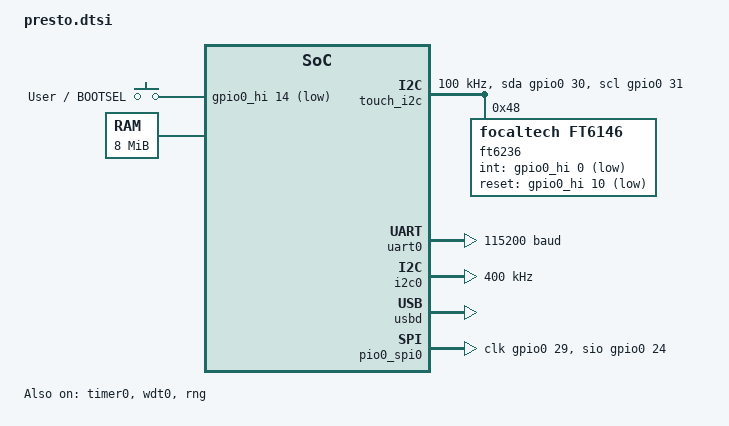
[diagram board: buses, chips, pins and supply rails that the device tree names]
/*
 * SPDX-License-Identifier: MIT
 *
 * Pimoroni Presto (RP2350B, 480x480 IPS w/ cap-touch, RM2 Wi-Fi/BT,
 * 7x SK6812, 8MB PSRAM, microSD, piezo).
 *
 * Pin map (RP2350B GPIO numbers; gpio0 covers 0-31, gpio0_hi covers 32-47):
 *
 *   Display (DISABLED — no upstream Zephyr driver for ST7701 in parallel RGB):
 *     GP1..GP18  18bpp parallel RGB data lanes
 *     GP19       HSYNC
 *     GP20       VSYNC
 *     GP21       DE
 *     GP22       PCLK / DOTCLK
 *     GP26       LCD SPI CLK (9-bit cmd bus)
 *     GP27       LCD SPI DATA
 *     GP28       LCD SPI CS
 *     GP44       LCD_RESET
 *
 *   Backlight:
 *     GP45       BACKLIGHT_EN (drives AP3031 booster CTRL)
 *
 *   Wi-Fi / BT (CYW43439 via RM2, PIO-SPI):
 *     GP23 REG_ON, GP24 DATA, GP25 CS, GP29 CLK
 *
 *   Touch (FT6236, I2C):
 *     GP30 SDA, GP31 SCL, GP32 INT, GP42 RESET, addr 0x48
 *
 *   LEDs (7x SK6812 NeoPixels, on PIO2 here; PIO0 SM3 in Pimoroni's firmware):
 *     GP33 LED_DATA
 *
 *   microSD (4-bit SDIO capable; driven here in SPI mode on SPI0):
 *     GP34 SCLK, GP35 CMD/MOSI, GP36 DAT0/MISO,
 *     GP37 DAT1, GP38 DAT2, GP39 DAT3/CS
 *
 *   Qw/ST I2C (external breakout):
 *     GP40 SDA, GP41 SCL
 *
 *   Piezo audio:
 *     GP43 PWM
 *
 *   User input:
 *     GP46 USER_SW (shared with QSPI BOOTSEL, pull-up active-low)
 *
 *   PSRAM (8MB APS6404, out of scope this iteration):
 *     GP47 dedicated CS
 */

#include <freq.h>

#include <zephyr/dt-bindings/gpio/gpio.h>
#include <zephyr/dt-bindings/i2c/i2c.h>
#include <zephyr/dt-bindings/input/input-event-codes.h>
#include <zephyr/dt-bindings/led/led.h>
#include <zephyr/dt-bindings/memory-attr/memory-attr-arm.h>
#include <zephyr/dt-bindings/memory-attr/memory-attr-sw.h>

#include "presto-pinctrl.dtsi"

/ {
	chosen {
		zephyr,sram = &sram0;
		zephyr,flash = &flash0;
		zephyr,flash-controller = &qmi;
		zephyr,console = &uart0;
		zephyr,shell-uart = &uart0;
	};

	aliases {
		watchdog0 = &wdt0;
		sw0 = &user_sw;
		led-strip = &ws2812;
	};

	buttons {
		compatible = "gpio-keys";

		user_sw: user_sw {
			label = "User / BOOTSEL";
			gpios = <&gpio0_hi 14 (GPIO_PULL_UP | GPIO_ACTIVE_LOW)>;
			zephyr,code = <INPUT_KEY_0>;
		};
	};
};

&flash0 {
	reg = <0x10000000 DT_SIZE_M(16)>;
};

&uart0 {
	current-speed = <115200>;
	pinctrl-0 = <&uart0_default>;
	pinctrl-names = "default";
	status = "okay";
};

&gpio0 {
	status = "okay";
};

&gpio0_hi {
	status = "okay";
};

/* Qw/ST connector. */
&i2c0 {
	clock-frequency = <I2C_BITRATE_FAST>;
	pinctrl-0 = <&i2c0_default>;
	pinctrl-names = "default";
	status = "okay";
};

/*
 * On-board FT6236 capacitive touch — software bit-bang I2C, NOT the RP2350
 * hardware I2C1.
 *
 * The FT6236 clock-stretches while it computes touch coordinates. The RP2350
 * DesignWare hardware I2C controller's interrupt/FIFO read path doesn't
 * tolerate that: idle reads succeed, but the first real touch trips a
 * controller error and the bus locks up (observed -EIO / i2c_dw "ABR and
 * STOP", and -ETIMEDOUT after; no auto bus-recovery exists for this driver).
 * Pimoroni's MicroPython reads the same panel fine because the pico-sdk does a
 * polled, byte-by-byte, clock-stretch-aware read. Zephyr's gpio-i2c bit-bang
 * driver (CONFIG_I2C_GPIO, clock-stretching enabled by default) behaves the
 * same way, so the touch bus uses it. The hardware &i2c1 is left disabled;
 * &i2c0 (Qw/ST) keeps using hardware I2C.
 *
 * GP30 = SDA, GP31 = SCL (gpio0 indices 30/31), open-drain with the RP2350
 * internal pull-ups (the on-board touch bus has no external pull-ups).
 */
&i2c1 {
	status = "disabled";
};

/ {
	touch_i2c: touch-i2c {
		compatible = "gpio-i2c";
		#address-cells = <1>;
		#size-cells = <0>;
		clock-frequency = <I2C_BITRATE_STANDARD>;
		sda-gpios = <&gpio0 30 (GPIO_OPEN_DRAIN | GPIO_PULL_UP)>;
		scl-gpios = <&gpio0 31 (GPIO_OPEN_DRAIN | GPIO_PULL_UP)>;
		status = "okay";

		ft6236: ft6236@48 {
			compatible = "focaltech,ft6146";
			reg = <0x48>;
			int-gpios = <&gpio0_hi 0 GPIO_ACTIVE_LOW>;
			reset-gpios = <&gpio0_hi 10 GPIO_ACTIVE_LOW>;
			status = "okay";
		};
	};
};

/*
 * microSD slot, driven in SPI mode on the hardware SPI0 controller.
 *
 * Disabled by default, like the display and Wi-Fi: an app opts in with
 * `&spi0 { status = "okay"; };` in its overlay plus CONFIG_DISK_DRIVER_SDMMC.
 * See apps/test_sdcard.
 *
 * SPI mode rather than the 4-bit SDIO the slot is wired for. The RP2350 has no
 * SD host controller, so SDIO would mean a PIO implementation, and all three
 * PIO blocks are already spoken for (PIO0 Wi-Fi, PIO1 display, PIO2 LEDs).
 * SPI mode costs roughly a quarter of the bandwidth and needs no PIO at all.
 *
 * 24 MHz is the SD specification's ceiling for SPI mode on a standard card.
 * The stack negotiates up to it from 400 kHz, so a card that will not run this
 * fast fails during initialisation rather than corrupting data later; drop it
 * if a particular card proves marginal.
 */
&spi0 {
	status = "disabled";
	pinctrl-0 = <&spi0_default>;
	pinctrl-names = "default";

	/* GP39 = DAT3/CS = gpio0_hi index 7. A GPIO, not the PL022's own chip
	 * select -- see the pinctrl comment for why.
	 */
	cs-gpios = <&gpio0_hi 7 GPIO_ACTIVE_LOW>;

	/*
	 * All three nodes are disabled, not just the bus, and an app enabling
	 * the slot must say so at every level. Zephyr's status checks look at a
	 * node alone and never at its ancestors, so a slot left "okay" under a
	 * disabled bus still instantiates its driver -- which then references a
	 * bus device that was never built, and the failure is an undefined
	 * __device_dts_ord_N at link time rather than anything mentioning SPI.
	 */
	sdhc0: sdhc@0 {
		compatible = "zephyr,sdhc-spi-slot";
		reg = <0>;
		status = "disabled";
		spi-max-frequency = <24000000>;

		sdmmc0: sdmmc {
			compatible = "zephyr,sdmmc-disk";
			disk-name = "SD";
			status = "disabled";
		};
	};
};

&dma {
	status = "okay";
};

&timer0 {
	status = "okay";
};

&wdt0 {
	status = "okay";
};

&rng {
	status = "okay";
};

zephyr_udc0: &usbd {
	status = "okay";
};

&pio0 {
	status = "okay";

	/* CYW43439 PIO-SPI bus (SM0..2 consumed by the airoc driver). */
	pio0_spi0: pio0_spi0 {
		compatible = "raspberrypi,pico-spi-pio";
		clocks = <&clocks RPI_PICO_CLKID_CLK_SYS>;
		#address-cells = <1>;
		#size-cells = <0>;
		cs-gpios = <&gpio0 25 GPIO_ACTIVE_LOW>;
		clk-gpios = <&gpio0 29 GPIO_ACTIVE_HIGH>;
		sio-gpios = <&gpio0 24 GPIO_ACTIVE_HIGH>;
		pinctrl-0 = <&pio0_spi0_default>;
		pinctrl-names = "default";
		status = "okay";

		airoc_wifi: airoc-wifi@0 {
			compatible = "infineon,airoc-wifi";
			reg = <0>;
			wifi-reg-on-gpios = <&gpio0 23 GPIO_ACTIVE_HIGH>;
			bus-select-gpios = <&gpio0 24 GPIO_ACTIVE_HIGH>;
			wifi-host-wake-gpios = <&gpio0 24 GPIO_ACTIVE_HIGH>;
			spi-max-frequency = <10000000>;
			spi-half-duplex;
			spi-data-irq-shared;
			pinctrl-0 = <&airoc_wifi_default>;
			pinctrl-1 = <&airoc_wifi_host_wake>;
			pinctrl-names = "default", "host_wake";
			status = "disabled";

			cyw43_gpio: gpio {
				compatible = "infineon,cyw43-gpio";
				gpio-controller;
				#gpio-cells = <2>;
				ngpios = <3>;
			};
		};
	};

};

/*
 * 7x SK6812 ambient lighting chain, GRB order, GP33. On PIO2 because PIO0 hosts
 * the CYW43439 Wi-Fi PIO-SPI and PIO1 the display, so PIO2 is the free block —
 * all three coexist. The pimoroni,ws2812-presto-pio fork (see below) drives the
 * GP33 data line, which is >GP31 and out of reach of the upstream PIO driver.
 */
&pio2 {
	status = "okay";

	ws2812_pio: ws2812_pio {
		/*
		 * Presto-local fork of worldsemi,ws2812-rpi_pico-pio: it sets the
		 * PIO GPIO base to 16 so the SM can reach GP33 (> 31), and takes the
		 * data pin as an absolute number via out-pin. See
		 * drivers/presto/drivers/led_strip/.
		 */
		compatible = "pimoroni,ws2812-presto-pio";
		status = "okay";
		pinctrl-0 = <&ws2812_pio2_default>;
		pinctrl-names = "default";
		bit-waveform = <3>, <3>, <4>;

		ws2812: ws2812 {
			status = "okay";
			out-pin = <33>; /* GP33, the SK6812 data line */
			chain-length = <7>;
			color-mapping = <LED_COLOR_ID_GREEN
					 LED_COLOR_ID_RED
					 LED_COLOR_ID_BLUE>;
			reset-delay = <280>;
			frequency = <800000>;
		};
	};
};

&pio1 {
	status = "okay";

	/*
	 * Elevate PIO1's interrupt priority above the SoC default (7). The
	 * display's timing ISR must refill the timing FIFO every scan line or
	 * the panel loses sync, so it needs to win against ordinary IRQs
	 * (mirrors the Pimoroni firmware, which raises these to a high level).
	 */
	interrupts = <17 2>, <18 2>;

	/*
	 * ST7701 480x480 panel, driven in 18bpp parallel-RGB (DPI) mode by the
	 * CONFIG_ST7701_PRESTO driver (out-of-tree module drivers/presto), a
	 * port of the Pimoroni firmware's PIO+DMA scanout. Disabled by default;
	 * apps/test_display enables it.
	 *
	 * Console note: the first data lane GP1 doubles as UART0 RX, so enabling
	 * the panel takes over GP1 at runtime. The UART0 console keeps working on
	 * TX (GP0), which the display does not use, so no console change is
	 * needed (only UART0 receive is lost).
	 *
	 * Pin functions for the 16 RGB565 data lanes (GP1-GP16) and the sync
	 * pins (GP19-GP22) are configured at runtime by the driver via
	 * pio_gpio_init(); GP17/GP18 are held low as plain GPIOs. No pinctrl
	 * group is needed.
	 */
	st7701: st7701 {
		compatible = "pimoroni,st7701-presto";
		status = "disabled";

		width = <480>;
		height = <480>;

		/* 9-bit command bus (bit-banged). */
		cmd-clk-gpios = <&gpio0 26 GPIO_ACTIVE_HIGH>;
		cmd-data-gpios = <&gpio0 27 GPIO_ACTIVE_HIGH>;
		cmd-cs-gpios = <&gpio0 28 GPIO_ACTIVE_LOW>;

		/* Backlight enable (AP3031 booster CTRL), GP45 = gpio0_hi[13]. */
		backlight-gpios = <&gpio0_hi 13 GPIO_ACTIVE_HIGH>;

		/* 16-lane RGB565 data bus + sync, all on PIO1. */
		data-pin-base = <1>;
		data-pin-count = <16>;
		hsync-pin = <19>;
		vsync-pin = <20>;
		de-pin = <21>;
		pclk-pin = <22>;
	};
};

/*
 * 8MB APS6404 PSRAM on the RP2350B dedicated CS (GP47 = QMI CS1), mapped at
 * 0x11000000. CONFIG_PIMORONI_RP2350_PSRAM runs the QMI window-1 bring-up at
 * boot (drivers/presto/drivers/memc). The memory-attr tags add an MPU RAM
 * window and let CONFIG_MEM_ATTR_HEAP allocate from it
 * (mem_attr_heap_alloc(DT_MEM_SW_ALLOC_DMA, ...)).
 */
/ {
	psram: memory@11000000 {
		compatible = "pimoroni,rp2350-psram", "zephyr,memory-region", "mmio-sram";
		reg = <0x11000000 DT_SIZE_M(8)>;
		zephyr,memory-region = "PSRAM";
		zephyr,memory-attr = <( DT_MEM_ARM(ATTR_MPU_RAM) | DT_MEM_SW(ATTR_SW_ALLOC_DMA) )>;
		cs-pin = <47>; /* GP47 = QMI CS1 */
	};
};
